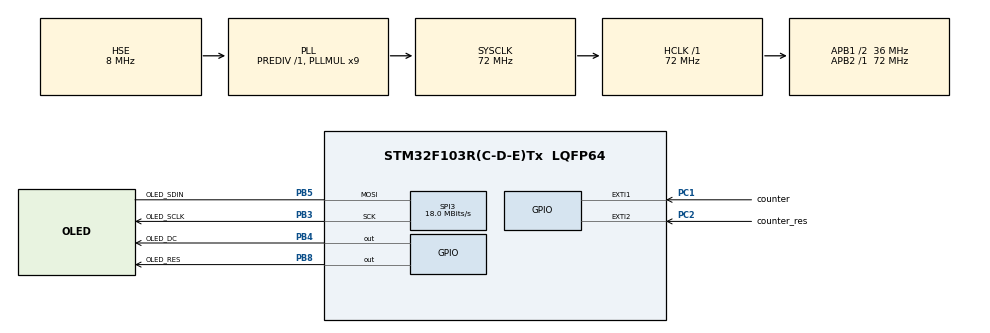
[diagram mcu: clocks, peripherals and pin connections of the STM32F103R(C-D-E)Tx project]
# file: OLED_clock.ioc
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Mcu.Family=STM32F1
Mcu.Name=STM32F103R(C-D-E)Tx
Mcu.Package=LQFP64
NVIC.EXTI1_IRQn=true\:2\:0\:true\:false\:true\:true\:true\:true
NVIC.EXTI2_IRQn=true\:1\:0\:true\:false\:true\:true\:true\:true
NVIC.PriorityGroup=NVIC_PRIORITYGROUP_4
NVIC.TIM2_IRQn=true\:0\:0\:false\:false\:true\:true\:true\:true
PA13.Mode=Serial_Wire
PA13.Signal=SYS_JTMS-SWDIO
PA14.Mode=Serial_Wire
PA14.Signal=SYS_JTCK-SWCLK
PB3.GPIO_Label=OLED_SCLK
PB3.Mode=Simplex_Bidirectional_Master
PB3.Signal=SPI3_SCK
PB4.GPIO_Label=OLED_DC
PB4.Signal=GPIO_Output
PB5.GPIO_Label=OLED_SDIN
PB5.Mode=Simplex_Bidirectional_Master
PB5.Signal=SPI3_MOSI
PB8.GPIO_Label=OLED_RES
PB8.Signal=GPIO_Output
PC1.GPIO_Label=counter
PC1.GPIO_ModeDefaultEXTI=GPIO_MODE_IT_FALLING
PC1.Signal=GPXTI1
PC2.GPIO_Label=counter_res
PC2.GPIO_ModeDefaultEXTI=GPIO_MODE_IT_FALLING
PC2.Signal=GPXTI2
PD0-OSC_IN.Mode=HSE-External-Oscillator
PD0-OSC_IN.Signal=RCC_OSC_IN
PD1-OSC_OUT.Mode=HSE-External-Oscillator
PD1-OSC_OUT.Signal=RCC_OSC_OUT
ProjectManager.HeapSize=0x200
ProjectManager.StackSize=0x400
ProjectManager.TargetToolchain=MDK-ARM V5.32
RCC.AHBFreq_Value=72000000
RCC.APB1CLKDivider=RCC_HCLK_DIV2
RCC.APB1Freq_Value=36000000
RCC.APB1TimFreq_Value=72000000
RCC.APB2Freq_Value=72000000
RCC.APB2TimFreq_Value=72000000
RCC.HCLKFreq_Value=72000000
RCC.PLLMUL=RCC_PLL_MUL9
RCC.PLLSourceVirtual=RCC_PLLSOURCE_HSE
RCC.SYSCLKFreq_VALUE=72000000
RCC.SYSCLKSource=RCC_SYSCLKSOURCE_PLLCLK
RCC.USBFreq_Value=72000000
SPI3.CalculateBaudRate=18.0 MBits/s
SPI3.Direction=SPI_DIRECTION_1LINE
SPI3.Mode=SPI_MODE_MASTER
SPI3.VirtualType=VM_MASTER
TIM2.Period=9999
TIM2.Prescaler=7199
VP_TIM2_VS_ClockSourceINT.Mode=Internal
board=custom

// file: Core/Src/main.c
/* USER CODE BEGIN Header */
/**
  ******************************************************************************
  * @file           : main.c
  * @brief          : Main program body
  ******************************************************************************
  * @attention
  *
  * Copyright (c) 2026 STMicroelectronics.
  * All rights reserved.
  *
  * This software is licensed under terms that can be found in the LICENSE file
  * in the root directory of this software component.
  * If no LICENSE file comes with this software, it is provided AS-IS.
  *
  ******************************************************************************
  */
/* USER CODE END Header */
#include "main.h"
#include "spi.h"
#include "tim.h"
#include "gpio.h"

/* USER CODE BEGIN Includes */
#include "sh1106oled.h"
#include "sh1106oledfont.h"

/* USER CODE END Includes */

/* USER CODE BEGIN PV */
// 状态机定义
typedef enum {
    STATE_STOP = 0,
    STATE_RUN =1,
    STATE_PAUSE =2
} CounterState_t;
volatile CounterState_t counter_state = STATE_STOP;  // 初始停止状态
volatile uint8_t pc1_pressed = 0;                    // PC1 按键标志
volatile uint8_t pc2_pressed = 0;                    // PC2 按键标志
/* USER CODE END PV */

void SystemClock_Config(void);

int main(void)
{

  /* MCU Configuration--------------------------------------------------------*/

  /* Reset of all peripherals, Initializes the Flash interface and the Systick. */
  HAL_Init();

  /* Configure the system clock */
  SystemClock_Config();

  /* Initialize all configured peripherals */
  MX_GPIO_Init();
  MX_SPI3_Init();
  MX_TIM2_Init();
  /* USER CODE BEGIN 2 */
	HAL_TIM_Base_Start_IT(&htim2);
	sh1106_init();          // OLED 初始化
  clr_oled_screen();     // 清屏
  CLOCK_Init();          // 时钟变量归零
	Flag = 1;                           // 这里定时器标签时counter_flag,后续优化触发首次显示 00:00:00
  /* USER CODE END 2 */

  /* Infinite loop */
  /* USER CODE BEGIN WHILE */
  while (1)
  {
		 // ----- 状态机处理（无延时，每次循环都检查）-----
        // 1. 复位按键 PC2（优先级最高，任意状态均可复位）
        if (pc2_pressed) {
            pc2_pressed = 0;
            counter_state = STATE_STOP;
            CLOCK_Init();               // 时间归零
            Flag = 1;                   // 立即刷新显示 00:00:00
        }

        // 2. 启动/暂停按键 PC1
        if (pc1_pressed) {
            pc1_pressed = 0;
            switch (counter_state) {
                case STATE_STOP:
                    counter_state = STATE_RUN;   // 停止 → 运行
                    // 时间已为 00:00:00，不需要额外操作
                    Flag = 1;                    // 刷新一次显示（可选）
                    break;
                case STATE_RUN:
                    counter_state = STATE_PAUSE; // 运行 → 暂停
                    // 保持当前显示不变
                    break;
                case STATE_PAUSE:
                    counter_state = STATE_RUN;   // 暂停 → 继续运行
                    break;
                default:
                    break;
            }
        }

        // 3. 显示刷新（仅当 Flag 为 1 时更新 OLED）
        if (Flag) {
            Flag = 0;
            OLED_ShowTime(clock_hour, clock_min, clock_sec);
        }

        HAL_Delay(1);   // 降低 CPU 占用，1ms 足够响应按键

    /* USER CODE END WHILE */

  }
}

void SystemClock_Config(void)
{
  RCC_OscInitTypeDef RCC_OscInitStruct = {0};
  RCC_ClkInitTypeDef RCC_ClkInitStruct = {0};

  /** Initializes the RCC Oscillators according to the specified parameters
  * in the RCC_OscInitTypeDef structure.
  */
  RCC_OscInitStruct.OscillatorType = RCC_OSCILLATORTYPE_HSE;
  RCC_OscInitStruct.HSEState = RCC_HSE_ON;
  RCC_OscInitStruct.HSEPredivValue = RCC_HSE_PREDIV_DIV1;
  RCC_OscInitStruct.HSIState = RCC_HSI_ON;
  RCC_OscInitStruct.PLL.PLLState = RCC_PLL_ON;
  RCC_OscInitStruct.PLL.PLLSource = RCC_PLLSOURCE_HSE;
  RCC_OscInitStruct.PLL.PLLMUL = RCC_PLL_MUL9;
  if (HAL_RCC_OscConfig(&RCC_OscInitStruct) != HAL_OK)
  {
    Error_Handler();
  }

  /** Initializes the CPU, AHB and APB buses clocks
  */
  RCC_ClkInitStruct.ClockType = RCC_CLOCKTYPE_HCLK|RCC_CLOCKTYPE_SYSCLK
                              |RCC_CLOCKTYPE_PCLK1|RCC_CLOCKTYPE_PCLK2;
  RCC_ClkInitStruct.SYSCLKSource = RCC_SYSCLKSOURCE_PLLCLK;
  RCC_ClkInitStruct.AHBCLKDivider = RCC_SYSCLK_DIV1;
  RCC_ClkInitStruct.APB1CLKDivider = RCC_HCLK_DIV2;
  RCC_ClkInitStruct.APB2CLKDivider = RCC_HCLK_DIV1;

  if (HAL_RCC_ClockConfig(&RCC_ClkInitStruct, FLASH_LATENCY_2) != HAL_OK)
  {
    Error_Handler();
  }
}

/* USER CODE BEGIN 4 */
// 外部中断回调（PC1 和 PC2）
void HAL_GPIO_EXTI_Callback(uint16_t GPIO_Pin)
{
    if (GPIO_Pin == counter_Pin) {       // 假设 PC1 对应 PIN_1
        pc1_pressed = 1;
    } else if (GPIO_Pin == counter_res_Pin) { // 假设 PC2 对应 PIN_2
        pc2_pressed = 1;
    }
}
void HAL_TIM_PeriodElapsedCallback(TIM_HandleTypeDef *htim)
{
    if (htim->Instance == TIM2) {
        // 只有在 RUN 状态才让时钟递增
        if (counter_state == STATE_RUN) {
            CLOCK_TimeIncrement();
        }
    }
}
/* USER CODE END 4 */

void Error_Handler(void)
{
  __disable_irq();
  while (1)
  {
  }
}
